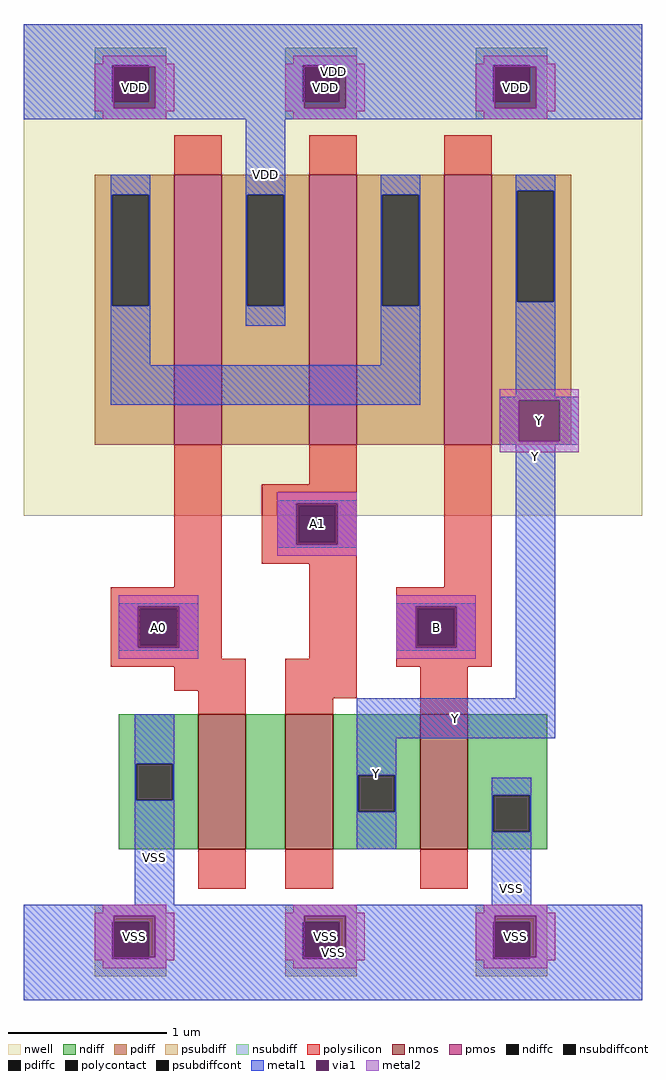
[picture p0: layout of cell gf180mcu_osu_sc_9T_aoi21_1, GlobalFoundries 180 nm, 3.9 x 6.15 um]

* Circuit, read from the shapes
.subckt gf180mcu_osu_sc_9T_aoi21_1 Y A0 A1 B VDD VSS
XM1 n1 A0 VSS VSS nfet_03v3 w=0.85u l=0.3u
XM2 Y A1 n1 VSS nfet_03v3 w=0.85u l=0.3u
XM3 VSS B Y VSS nfet_03v3 w=0.85u l=0.3u
XM4 VDD A0 n2 VDD pfet_03v3 w=1.7u l=0.3u
XM5 n2 A1 VDD VDD pfet_03v3 w=1.7u l=0.3u
XM6 Y B n2 VDD pfet_03v3 w=1.7u l=0.3u
.ends

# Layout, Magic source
magic
tech gf180mcuA
magscale 1 10
<< nwell >>
rect 0 610 780 1230
<< nmos >>
rect 220 190 280 360
rect 330 190 390 360
rect 500 190 560 360
<< pmos >>
rect 190 700 250 1040
rect 360 700 420 1040
rect 530 700 590 1040
<< ndiff >>
rect 120 298 220 360
rect 120 252 142 298
rect 188 252 220 298
rect 120 190 220 252
rect 280 190 330 360
rect 390 283 500 360
rect 390 237 422 283
rect 468 237 500 283
rect 390 190 500 237
rect 560 258 660 360
rect 560 212 592 258
rect 638 212 660 258
rect 560 190 660 212
<< pdiff >>
rect 90 1015 190 1040
rect 90 875 112 1015
rect 158 875 190 1015
rect 90 700 190 875
rect 250 1015 360 1040
rect 250 875 282 1015
rect 328 875 360 1015
rect 250 700 360 875
rect 420 1015 530 1040
rect 420 875 452 1015
rect 498 875 530 1015
rect 420 700 530 875
rect 590 1020 690 1040
rect 590 880 622 1020
rect 668 880 690 1020
rect 590 700 690 880
<< ndiffc >>
rect 142 252 188 298
rect 422 237 468 283
rect 592 212 638 258
<< pdiffc >>
rect 112 875 158 1015
rect 282 875 328 1015
rect 452 875 498 1015
rect 622 880 668 1020
<< psubdiff >>
rect 90 98 180 120
rect 90 52 112 98
rect 158 52 180 98
rect 90 30 180 52
rect 330 98 420 120
rect 330 52 352 98
rect 398 52 420 98
rect 330 30 420 52
rect 570 98 660 120
rect 570 52 592 98
rect 638 52 660 98
rect 570 30 660 52
<< nsubdiff >>
rect 90 1178 180 1200
rect 90 1132 112 1178
rect 158 1132 180 1178
rect 90 1110 180 1132
rect 330 1178 420 1200
rect 330 1132 352 1178
rect 398 1132 420 1178
rect 330 1110 420 1132
rect 570 1178 660 1200
rect 570 1132 592 1178
rect 638 1132 660 1178
rect 570 1110 660 1132
<< psubdiffcont >>
rect 112 52 158 98
rect 352 52 398 98
rect 592 52 638 98
<< nsubdiffcont >>
rect 112 1132 158 1178
rect 352 1132 398 1178
rect 592 1132 638 1178
<< polysilicon >>
rect 190 1040 250 1090
rect 360 1040 420 1090
rect 530 1040 590 1090
rect 190 520 250 700
rect 360 650 420 700
rect 300 623 420 650
rect 300 577 347 623
rect 393 577 420 623
rect 300 550 420 577
rect 110 493 250 520
rect 110 447 147 493
rect 193 447 250 493
rect 110 430 250 447
rect 360 430 420 550
rect 530 520 590 700
rect 110 420 280 430
rect 190 390 280 420
rect 220 360 280 390
rect 330 380 420 430
rect 470 493 590 520
rect 470 447 497 493
rect 543 447 590 493
rect 470 420 590 447
rect 330 360 390 380
rect 500 360 560 420
rect 220 140 280 190
rect 330 140 390 190
rect 500 140 560 190
<< polycontact >>
rect 347 577 393 623
rect 147 447 193 493
rect 497 447 543 493
<< metal1 >>
rect 0 1178 780 1230
rect 0 1132 112 1178
rect 158 1176 352 1178
rect 398 1176 592 1178
rect 638 1176 780 1178
rect 166 1132 352 1176
rect 406 1132 592 1176
rect 0 1124 114 1132
rect 166 1124 354 1132
rect 406 1124 594 1132
rect 646 1124 780 1176
rect 0 1110 780 1124
rect 110 1015 160 1040
rect 110 875 112 1015
rect 158 875 160 1015
rect 110 800 160 875
rect 280 1015 330 1110
rect 280 875 282 1015
rect 328 875 330 1015
rect 280 850 330 875
rect 450 1015 500 1040
rect 450 875 452 1015
rect 498 875 500 1015
rect 450 800 500 875
rect 110 750 500 800
rect 620 1020 670 1040
rect 620 880 622 1020
rect 668 880 670 1020
rect 620 760 670 880
rect 600 756 700 760
rect 600 704 624 756
rect 676 704 700 756
rect 600 700 700 704
rect 320 626 420 630
rect 320 574 344 626
rect 396 574 420 626
rect 320 570 420 574
rect 120 496 220 500
rect 120 444 144 496
rect 196 444 220 496
rect 120 440 220 444
rect 470 496 570 500
rect 470 444 494 496
rect 546 444 570 496
rect 470 440 570 444
rect 620 380 670 700
rect 140 298 190 360
rect 140 252 142 298
rect 188 252 190 298
rect 140 120 190 252
rect 420 330 670 380
rect 420 283 470 330
rect 420 237 422 283
rect 468 237 470 283
rect 420 190 470 237
rect 590 258 640 280
rect 590 212 592 258
rect 638 212 640 258
rect 590 120 640 212
rect 0 106 780 120
rect 0 98 114 106
rect 166 98 354 106
rect 406 98 594 106
rect 0 52 112 98
rect 166 54 352 98
rect 406 54 592 98
rect 646 54 780 106
rect 158 52 352 54
rect 398 52 592 54
rect 638 52 780 54
rect 0 0 780 52
<< via1 >>
rect 114 1132 158 1176
rect 158 1132 166 1176
rect 354 1132 398 1176
rect 398 1132 406 1176
rect 594 1132 638 1176
rect 638 1132 646 1176
rect 114 1124 166 1132
rect 354 1124 406 1132
rect 594 1124 646 1132
rect 624 704 676 756
rect 344 623 396 626
rect 344 577 347 623
rect 347 577 393 623
rect 393 577 396 623
rect 344 574 396 577
rect 144 493 196 496
rect 144 447 147 493
rect 147 447 193 493
rect 193 447 196 493
rect 144 444 196 447
rect 494 493 546 496
rect 494 447 497 493
rect 497 447 543 493
rect 543 447 546 493
rect 494 444 546 447
rect 114 98 166 106
rect 354 98 406 106
rect 594 98 646 106
rect 114 54 158 98
rect 158 54 166 98
rect 354 54 398 98
rect 398 54 406 98
rect 594 54 638 98
rect 638 54 646 98
<< metal2 >>
rect 100 1180 180 1190
rect 340 1180 420 1190
rect 580 1180 660 1190
rect 90 1176 190 1180
rect 90 1124 114 1176
rect 166 1124 190 1176
rect 90 1120 190 1124
rect 330 1176 430 1180
rect 330 1124 354 1176
rect 406 1124 430 1176
rect 330 1120 430 1124
rect 570 1176 670 1180
rect 570 1124 594 1176
rect 646 1124 670 1176
rect 570 1120 670 1124
rect 100 1110 180 1120
rect 340 1110 420 1120
rect 580 1110 660 1120
rect 600 756 700 770
rect 600 704 624 756
rect 676 704 700 756
rect 600 690 700 704
rect 320 626 420 640
rect 320 574 344 626
rect 396 574 420 626
rect 320 560 420 574
rect 120 496 220 510
rect 120 444 144 496
rect 196 444 220 496
rect 120 430 220 444
rect 470 496 570 510
rect 470 444 494 496
rect 546 444 570 496
rect 470 430 570 444
rect 100 110 180 120
rect 340 110 420 120
rect 580 110 660 120
rect 90 106 190 110
rect 90 54 114 106
rect 166 54 190 106
rect 90 50 190 54
rect 330 106 430 110
rect 330 54 354 106
rect 406 54 430 106
rect 330 50 430 54
rect 570 106 670 110
rect 570 54 594 106
rect 646 54 670 106
rect 570 50 670 54
rect 100 40 180 50
rect 340 40 420 50
rect 580 40 660 50
<< labels >>
rlabel metal2 s 100 1110 180 1190 4 VDD
port 10 nsew power bidirectional abutment
rlabel metal2 s 100 40 180 120 4 VSS
port 11 nsew ground bidirectional
rlabel metal2 s 600 690 700 770 4 Y
port 1 nsew signal output
rlabel metal2 s 120 430 220 510 4 A0
port 2 nsew signal input
rlabel metal2 s 320 560 420 640 4 A1
port 3 nsew signal input
rlabel metal2 s 470 430 570 510 4 B
port 4 nsew signal input
rlabel metal1 s 120 440 220 500 1 A0
port 2 nsew signal input
rlabel metal1 s 320 570 420 630 1 A1
port 3 nsew signal input
rlabel metal1 s 470 440 570 500 1 B
port 4 nsew signal input
rlabel metal2 s 90 1120 190 1180 1 VDD
port 10 nsew power bidirectional abutment
rlabel metal2 s 340 1110 420 1190 1 VDD
port 10 nsew power bidirectional abutment
rlabel metal2 s 330 1120 430 1180 1 VDD
port 10 nsew power bidirectional abutment
rlabel metal2 s 580 1110 660 1190 1 VDD
port 10 nsew power bidirectional abutment
rlabel metal2 s 570 1120 670 1180 1 VDD
port 10 nsew power bidirectional abutment
rlabel metal1 s 280 850 330 1230 1 VDD
port 10 nsew power bidirectional abutment
rlabel metal1 s 0 1110 780 1230 1 VDD
port 10 nsew power bidirectional abutment
rlabel metal2 s 90 50 190 110 1 VSS
port 11 nsew ground bidirectional
rlabel metal2 s 340 40 420 120 1 VSS
port 11 nsew ground bidirectional
rlabel metal2 s 330 50 430 110 1 VSS
port 11 nsew ground bidirectional
rlabel metal2 s 580 40 660 120 1 VSS
port 11 nsew ground bidirectional
rlabel metal2 s 570 50 670 110 1 VSS
port 11 nsew ground bidirectional
rlabel metal1 s 140 0 190 360 1 VSS
port 11 nsew ground bidirectional
rlabel metal1 s 590 0 640 280 1 VSS
port 11 nsew ground bidirectional
rlabel metal1 s 0 0 780 120 1 VSS
port 11 nsew ground bidirectional
rlabel metal1 s 420 190 470 380 1 Y
port 1 nsew signal output
rlabel metal1 s 420 330 670 380 1 Y
port 1 nsew signal output
rlabel metal1 s 620 330 670 1040 1 Y
port 1 nsew signal output
rlabel metal1 s 600 700 700 760 1 Y
port 1 nsew signal output
<< properties >>
string FIXED_BBOX 0 0 780 1230
string GDS_END 55012
string GDS_FILE $PDKPATH/libs.ref/gf180mcu_osu_sc_9T/gds/gf180mcu_osu_sc_9T.gds
string GDS_START 48056
string LEFclass CORE
string LEFsite GF018hv5v_mcu_sc7
string LEFsymmetry X Y
<< end >>
